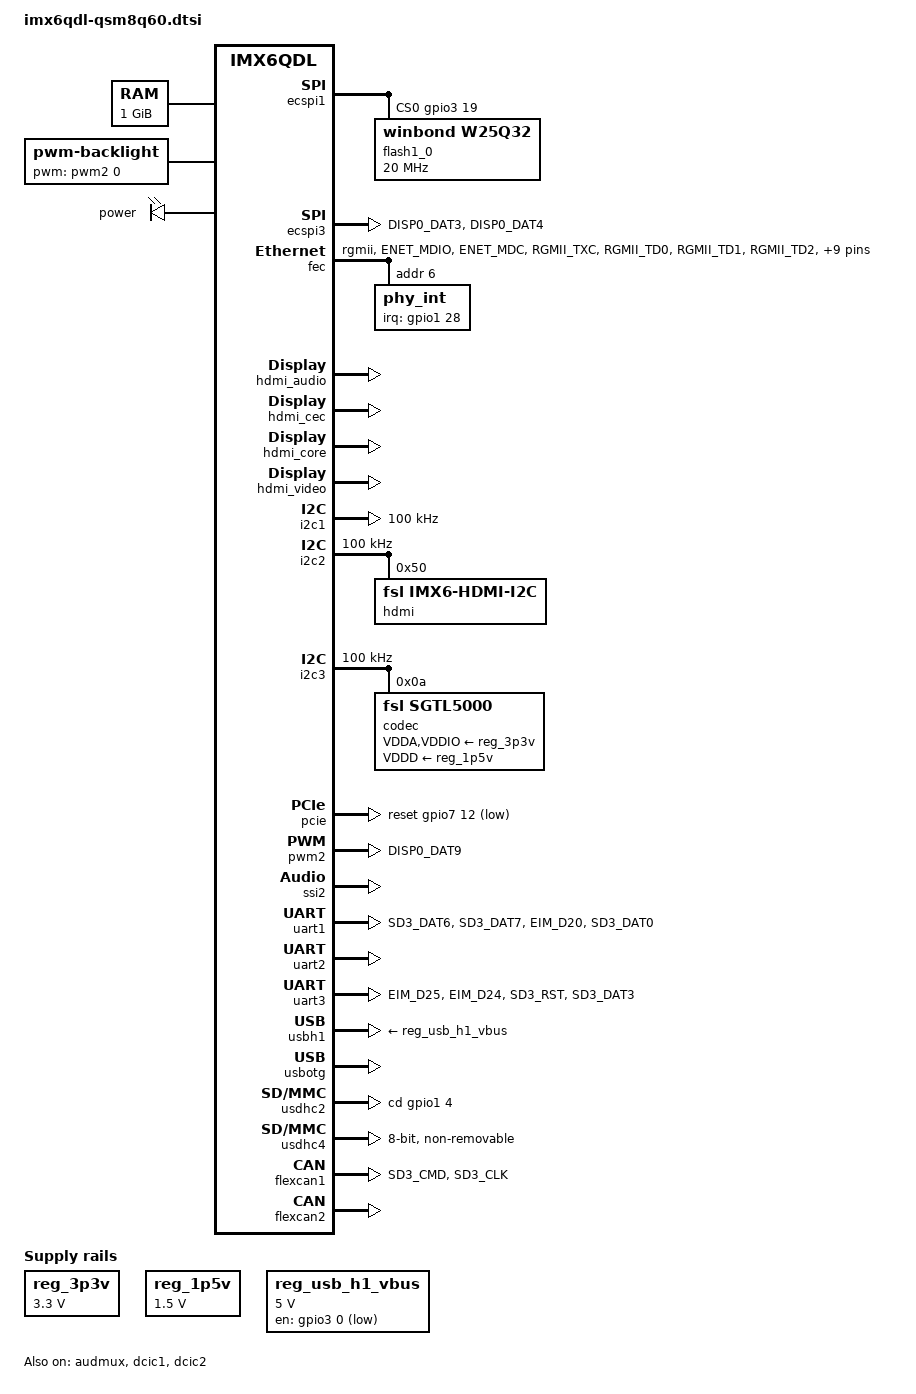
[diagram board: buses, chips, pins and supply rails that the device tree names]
/*
 * Copyright 2012 Freescale Semiconductor, Inc.
 * Copyright 2011 Linaro Ltd.
 *
 * The code contained herein is licensed under the GNU General Public
 * License. You may obtain a copy of the GNU General Public License
 * Version 2 or later at the following locations:
 *
 * http://www.opensource.org/licenses/gpl-license.html
 * http://www.gnu.org/copyleft/gpl.html
 */

#include <dt-bindings/interrupt-controller/irq.h>

/ {
	aliases {
		mmc0 = &usdhc4;
		mmc1 = &usdhc2;
		mxcfb0 = &mxcfb1;
		mxcfb1 = &mxcfb2;
		mxcfb2 = &mxcfb3;
		mxcfb3 = &mxcfb4;
	};

	memory {
		reg = <0x10000000 0x40000000>;
	};

	hannstar_cabc {
		compatible = "hannstar,cabc";

		lvds0 {
			gpios = <&gpio6 15 GPIO_ACTIVE_HIGH>;
		};
	};

	regulators {
		compatible = "simple-bus";

		reg_3p3v: 3p3v {
			compatible = "regulator-fixed";
			regulator-name = "3P3V";
			regulator-min-microvolt = <3300000>;
			regulator-max-microvolt = <3300000>;
			regulator-always-on;
		};

		reg_1p5v: 1p5v {
			compatible = "regulator-fixed";
			regulator-name = "1P5V";
			regulator-min-microvolt = <1500000>;
			regulator-max-microvolt = <1500000>;
			regulator-always-on;
		};

/*		reg_usb_otg_vbus: usb_otg_vbus {
			compatible = "regulator-fixed";
			regulator-name = "usb_otg_vbus";
			regulator-min-microvolt = <5000000>;
			regulator-max-microvolt = <5000000>;
			gpio = <&gpio3 22 0>;
			enable-active-high;
		};*/

		reg_usb_h1_vbus: usb_h1_vbus {
			compatible = "regulator-fixed";
			regulator-name = "usb_h1_vbus";
			regulator-min-microvolt = <5000000>;
			regulator-max-microvolt = <5000000>;
			gpio = <&gpio3 0 1>; /* QSM-8Q60 - low enable*/

			/* SDB - high enable
			gpio = <&gpio1 29 0>;
			enable-active-high; */
		};
	};

	sound {
		compatible = "via,imx6qdl-qsm8q60-sgtl5000",
			     "fsl,imx-audio-sgtl5000";
		model = "imx6qdl-qsm8q60-sgtl5000";
		cpu-dai = <&ssi2>;
		audio-codec = <&codec>;
		audio-routing =
			"MIC_IN", "Mic Jack",
			"Mic Jack", "Mic Bias",
			"Headphone Jack", "HP_OUT";
		mux-int-port = <2>;
		mux-ext-port = <4>;
	};

	sound-hdmi {
		compatible = "fsl,imx6q-audio-hdmi",
			     "fsl,imx-audio-hdmi";
		model = "imx-audio-hdmi";
		hdmi-controller = <&hdmi_audio>;
	};

	mxcfb1: fb@0 {
		compatible = "fsl,mxc_sdc_fb";
		disp_dev = "lcd";
		interface_pix_fmt = "RGB666";
		mode_str = "LDB-XGA";
		default_bpp = <16>;
		int_clk = <0>;
		late_init = <0>;
		status = "disabled";
	};

	mxcfb2: fb@1 {
		compatible = "fsl,mxc_sdc_fb";
		disp_dev = "lcd";
		interface_pix_fmt = "RGB565";
		mode_str = "CLAA-WVGA";
		default_bpp = <16>;
		int_clk = <0>;
		late_init = <0>;
		status = "disabled";
	};

	mxcfb3: fb@2 {
		compatible = "fsl,mxc_sdc_fb";
		disp_dev = "lcd";
		interface_pix_fmt = "RGB666";
		mode_str = "LDB-SVGA";
		default_bpp = <16>;
		int_clk = <0>;
		late_init = <0>;
		status = "disabled";
	};

	mxcfb4: fb@3 {
		compatible = "fsl,mxc_sdc_fb";
		disp_dev = "lcd";
		interface_pix_fmt = "RGB666";
		mode_str = "LDB-VGA";
		default_bpp = <16>;
		int_clk = <0>;
		late_init = <0>;
		status = "disabled";
	};

        v4l2_out {
                compatible = "fsl,mxc_v4l2_output";
                status = "okay";
        };

	backlight {
		compatible = "pwm-backlight";
		pwms = <&pwm2 0 5000000>; /* QSM-8Q60 */ /* SDB - <&pwm1 0 5000000> */
		brightness-levels = <0 4 8 16 32 64 128 255>;
		default-brightness-level = <7>;
	};

	leds {
		compatible = "gpio-leds";
		power {
			power-led-gpio = <&gpio4 5 0>;
		};
	};
};

&audmux {
	pinctrl-names = "default";
	pinctrl-0 = <&pinctrl_audmux_4>;
	status = "okay";
};

&ecspi1 {
	fsl,spi-num-chipselects = <1>;
	cs-gpios = <&gpio3 19 0>;
	pinctrl-names = "default";
	pinctrl-0 = <&pinctrl_ecspi1_1 &pinctrl_ecspi1_cs_1>;
	status = "okay";
	
	flash1_0: w25q32@0 {
		#address-cells = <1>;
		#size-cells = <1>;
		compatible = "winbond,w25q32";
		spi-max-frequency = <20000000>;
		reg = <0>;
	};
};

&ecspi3 {
	fsl,spi-num-chipselects = <2>;
	cs-gpios = <&gpio4 24 0>, <&gpio4 25 0>;
	pinctrl-names = "default";
	pinctrl-0 = <&pinctrl_ecspi3_1 &pinctrl_ecspi3_cs_1 &pinctrl_ecspi3_cs_2>;
	status = "okay";
};

&fec {
	pinctrl-names = "default";
	pinctrl-0 = <&pinctrl_enet_4>;
	phy-mode = "rgmii";
	status = "okay";

	#address-cells = <0>;
	#size-cells = <1>;

	phy_int {
		reg = <0x6>;
		interrupt-parent = <&gpio1>;
		interrupts = <28 IRQ_TYPE_LEVEL_LOW>;
	};
};

&hdmi_audio {
	status = "okay";
};

&hdmi_cec {
	pinctrl-names = "default";
	pinctrl-0 = <&pinctrl_hdmi_cec_2>;
	status = "okay";
};

&hdmi_core {
	ipu_id = <0>;
	disp_id = <0>;
	status = "okay";
};

&hdmi_video {
	fsl,phy_reg_vlev = <0x0294>;
	fsl,phy_reg_cksymtx = <0x800d>;
	status = "okay";
};

&i2c1 {
	clock-frequency = <100000>;
	pinctrl-names = "default";
	pinctrl-0 = <&pinctrl_i2c1_2>;
	status = "okay";
};

&i2c2 {
	clock-frequency = <100000>;
	pinctrl-names = "default";
	pinctrl-0 = <&pinctrl_i2c2_2>;
	status = "okay";

	hdmi: edid@50 {
		compatible = "fsl,imx6-hdmi-i2c";
		reg = <0x50>;
	};
};

&i2c3 {
	clock-frequency = <100000>;
	pinctrl-names = "default";
	pinctrl-0 = <&pinctrl_i2c3_2>;
	status = "okay";

	codec: sgtl5000@0a {
		compatible = "fsl,sgtl5000";
		reg = <0x0a>;
		clocks = <&clks 201>;
		VDDA-supply = <&reg_3p3v>;
		VDDIO-supply = <&reg_3p3v>;
		VDDD-supply = <&reg_1p5v>;
	};
};

&pcie {
	/* power-on-gpio = <&gpio1 19 0>;	VAB-820: SDB - <&gpio3 19 0>; */
	reset-gpio = <&gpio7 12 GPIO_ACTIVE_LOW>;
	wake-up-gpio = <&gpio5 20 GPIO_ACTIVE_LOW>;
	status = "okay";
};

&pwm2 {
	pinctrl-names = "default";
	pinctrl-0 = <&pinctrl_pwm2_1>;
	status = "okay";
};

&ssi2 {
	fsl,mode = "i2s-slave";
	status = "okay";
};

&uart1 {
	pinctrl-names = "default";
	pinctrl-0 = <&pinctrl_uart1_qsm8q60>;
	status = "okay";
	fsl,uart-has-rtscts;
	fsl,dte-mode;
};

&uart2 {
	pinctrl-names = "default";
	pinctrl-0 = <&pinctrl_uart2_1>;
	status = "okay";
};

&uart3 {
	pinctrl-names = "default";
	pinctrl-0 = <&pinctrl_uart3_qsm8q60>;
	status = "okay";
	fsl,uart-has-rtscts;
	fsl,dte-mode;
};

&usbh1 {
	vbus-supply = <&reg_usb_h1_vbus>;
	pinctrl-1 = <&pinctrl_usbh1_1>;
	status = "okay";
};

&usbotg {
/*	vbus-supply = <&reg_usb_otg_vbus>;*/
	pinctrl-names = "default";
	pinctrl-0 = <&pinctrl_usbotg_2>;
	disable-over-current;
	status = "okay";
};

&usdhc2 {
	pinctrl-names = "default";
	pinctrl-0 = <&pinctrl_usdhc2_2>;
	cd-gpios = <&gpio1 4 0>;
	no-1-8-v;
	keep-power-in-suspend;
	enable-sdio-wakeup;
	status = "okay";
};

&usdhc4 {
	pinctrl-names = "default";
	pinctrl-0 = <&pinctrl_usdhc4_1>;
	bus-width = <8>;
	non-removable;
	no-1-8-v;
	keep-power-in-suspend;
	status = "okay";
};

&flexcan1 {
	pinctrl-names = "default";
	pinctrl-0 = <&pinctrl_flexcan1_qsm8q60>;
	status = "okay";
};

&flexcan2 {
	pinctrl-names = "default";
	pinctrl-0 = <&pinctrl_flexcan2_1>;
	status = "okay";
};

&iomuxc {
	pinctrl-names = "default";
	pinctrl-0 = <&pinctrl_hog_1>;

	uart1 {
		pinctrl_uart1_qsm8q60: uart1grp-2 {
			fsl,pins = <
				MX6QDL_PAD_SD3_DAT6__UART1_TX_DATA	0x1b0b1
				MX6QDL_PAD_SD3_DAT7__UART1_RX_DATA	0x1b0b1
				MX6QDL_PAD_EIM_D20__UART1_CTS_B		0x1b0b1
				MX6QDL_PAD_SD3_DAT0__UART1_RTS_B	0x1b0b1
			>;
		};
	};
	
	uart3 {
		pinctrl_uart3_qsm8q60: uart3grp-3 {
			fsl,pins = <
				MX6QDL_PAD_EIM_D25__UART3_TX_DATA 0x1b0b1
				MX6QDL_PAD_EIM_D24__UART3_RX_DATA 0x1b0b1
				MX6QDL_PAD_SD3_RST__UART3_CTS_B   0x1b0b1
				MX6QDL_PAD_SD3_DAT3__UART3_RTS_B   0x1b0b1
			>;
		};
	};

	flexcan1 {
		pinctrl_flexcan1_qsm8q60: flexcan1grp-3 {
			fsl,pins = <
				MX6QDL_PAD_SD3_CMD__FLEXCAN1_TX	0x80000000
				MX6QDL_PAD_SD3_CLK__FLEXCAN1_RX	0x80000000
			>;
		};
	};

	hog {
		pinctrl_hog_1: hoggrp-1 {
			fsl,pins = <
				MX6QDL_PAD_GPIO_2__GPIO1_IO02		0x80000000		/* GPIO x 8 */
				MX6QDL_PAD_GPIO_5__GPIO1_IO05		0x80000000
				MX6QDL_PAD_GPIO_7__GPIO1_IO07		0x80000000
				MX6QDL_PAD_GPIO_8__GPIO1_IO08		0x80000000
				MX6QDL_PAD_NANDF_CLE__GPIO6_IO07		0x80000000
				MX6QDL_PAD_NANDF_WP_B__GPIO6_IO09		0x80000000
				MX6QDL_PAD_NANDF_RB0__GPIO6_IO10		0x80000000
				MX6QDL_PAD_NANDF_CS3__GPIO6_IO16		0x80000000

				MX6QDL_PAD_ENET_TX_EN__GPIO1_IO28	0x1b0b0		/* RGMII_INT */
				MX6QDL_PAD_GPIO_4__GPIO1_IO04		0x80000000		/* SD2_CD_B */

				MX6QDL_PAD_EIM_DA0__GPIO3_IO00		0x80000000		/* USB_0_2_3_4_EN */
				MX6QDL_PAD_EIM_D22__GPIO3_IO22		0x80000000		/* USB_OTG_PWR_EN */
				MX6QDL_PAD_GPIO_19__GPIO4_IO05		0x80000000		/* GPIO_19_PLED */

				MX6QDL_PAD_NANDF_ALE__GPIO6_IO08	0x80000000		/* LVDS_PPEN */
				MX6QDL_PAD_NANDF_CS2__GPIO6_IO15	0x80000000		/* LVDS_BLEN */
				MX6QDL_PAD_GPIO_18__GPIO7_IO13		0x80000000		/* USB_HUB_RESET_B */

				MX6QDL_PAD_GPIO_0__CCM_CLKO1		0x000b0		/* SGTL5000 sys_mcl: copied from boundary */
			>;
		};
	};

	ecspi3 {
		pinctrl_ecspi3_cs_1: ecspi3_cs_grp-1 {
			fsl,pins = <
				MX6QDL_PAD_DISP0_DAT3__GPIO4_IO24	0x80000000
			>;
		};
		pinctrl_ecspi3_cs_2: ecspi3_cs_grp-2 {
			fsl,pins = <
				MX6QDL_PAD_DISP0_DAT4__GPIO4_IO25	0x80000000
			>;
		};
	};

	audmux {
		pinctrl_audmux_4: audmux-4 {
			fsl,pins = <
				MX6QDL_PAD_DISP0_DAT20__AUD4_TXC	0x130b0
				MX6QDL_PAD_DISP0_DAT21__AUD4_TXD	0x110b0
				MX6QDL_PAD_DISP0_DAT22__AUD4_TXFS	0x130b0
				MX6QDL_PAD_DISP0_DAT23__AUD4_RXD	0x130b0
			>;
		};
	};

	enet {
		/* QSM-8Q60 - remove ENET_TX_EN Pin, set it ad GPIO instead */
		pinctrl_enet_4: enetgrp-4 {
			fsl,pins = <
				MX6QDL_PAD_ENET_MDIO__ENET_MDIO		0x1b0b0
				MX6QDL_PAD_ENET_MDC__ENET_MDC		0x1b0b0
				MX6QDL_PAD_RGMII_TXC__RGMII_TXC		0x1b0b0
				MX6QDL_PAD_RGMII_TD0__RGMII_TD0		0x1b0b0
				MX6QDL_PAD_RGMII_TD1__RGMII_TD1		0x1b0b0
				MX6QDL_PAD_RGMII_TD2__RGMII_TD2		0x1b0b0
				MX6QDL_PAD_RGMII_TD3__RGMII_TD3		0x1b0b0
				MX6QDL_PAD_RGMII_TX_CTL__RGMII_TX_CTL	0x1b0b0
				MX6QDL_PAD_ENET_REF_CLK__ENET_TX_CLK	0x1b0b0
				MX6QDL_PAD_RGMII_RXC__RGMII_RXC		0x1b0b0
				MX6QDL_PAD_RGMII_RD0__RGMII_RD0		0x1b0b0
				MX6QDL_PAD_RGMII_RD1__RGMII_RD1		0x1b0b0
				MX6QDL_PAD_RGMII_RD2__RGMII_RD2		0x1b0b0
				MX6QDL_PAD_RGMII_RD3__RGMII_RD3		0x1b0b0
				MX6QDL_PAD_RGMII_RX_CTL__RGMII_RX_CTL	0x1b0b0
			>;
		}; 
	};

	pwm2 {
		pinctrl_pwm2_1: pwm2grp-1 {
			fsl,pins = <
				MX6QDL_PAD_DISP0_DAT9__PWM2_OUT	0x1b0b1
			>;
		};
	};

	usbh1 {
		pinctrl_usbh1_1: usbh1grp-1 {
			fsl,pins = <
				MX6QDL_PAD_EIM_D30__USB_H1_OC	0x80000000
			>;
		};
	};
};

&dcic1 {
	dcic_id = <0>;
	dcic_mux = "dcic-hdmi";
	status = "okay";
};

&dcic2 {
	dcic_id = <1>;
	dcic_mux = "dcic-lvds1";
	status = "okay";
};
